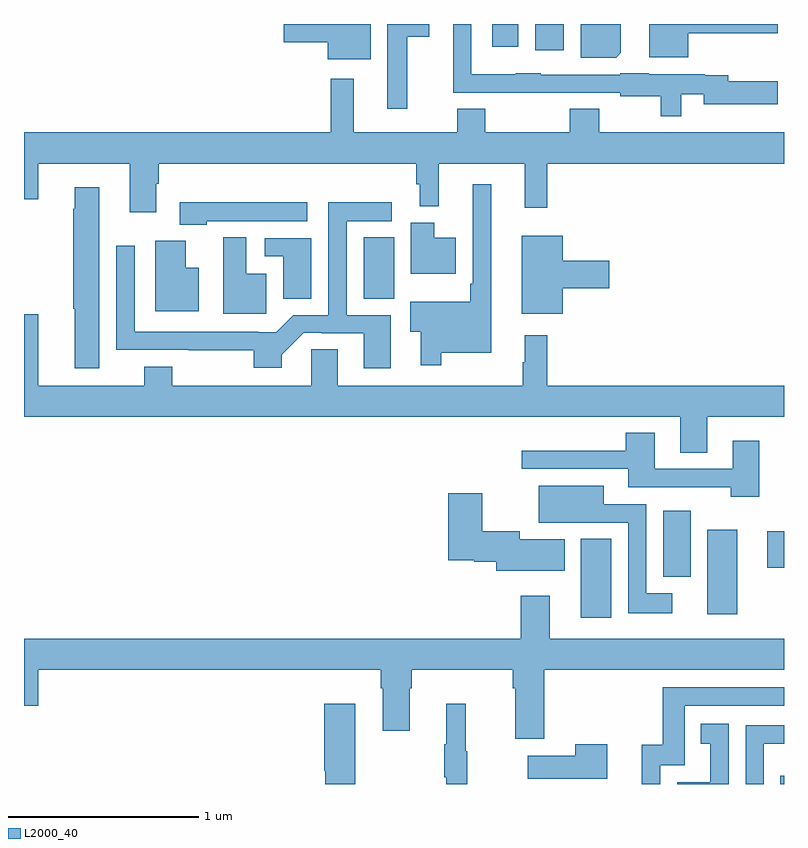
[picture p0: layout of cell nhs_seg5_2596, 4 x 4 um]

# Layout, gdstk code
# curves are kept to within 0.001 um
import gdstk
lib = gdstk.Library(unit=1e-6, precision=1e-09)
def R(c, l, rs):  # rectangles x0, y0, x1, y1
    for r in rs: c.add(gdstk.rectangle(r[:2], r[2:], *l))
def P(c, l, *ps):  # polygons
    for p in ps: c.add(gdstk.Polygon(p, *l))
L2000_40 = (2000, 40)

nhs_seg5_2596 = lib.new_cell('nhs_seg5_2596')
R(nhs_seg5_2596, L2000_40, [(264.979,882.799,265,882.843), (263.93,883.674,264.091,884.089), (264.596,883.692,264.754,884.137), (264.365,883.889,264.508,884.236), (264.911,883.937,265,884.128), (262.787,885.352,262.948,885.677), (263.69,886.662,263.842,886.799), (263.465,886.68,263.602,886.799)])
P(nhs_seg5_2596, L2000_40, [(263.017,886.733),(263.134,886.733),(263.134,886.799),(262.913,886.799),(262.913,886.353),(263.017,886.353)],
  [(264.142,886.648),(264.142,886.799),(263.93,886.799),(263.93,886.622),(264.116,886.622)],
  [(262.825,886.799),(262.368,886.799),(262.368,886.702),(262.598,886.702),(262.598,886.613),(262.825,886.613)],
  [(264.459,886.43),(264.578,886.43),(264.578,886.376),(264.967,886.376),(264.967,886.498),(264.706,886.498),(264.706,886.53),(264.582,886.53),(264.582,886.534),(264.288,886.534),(264.288,886.54),(264.138,886.54),(264.138,886.533),(263.721,886.533),(263.721,886.54),(263.589,886.54),(263.589,886.534),(263.355,886.534),(263.355,886.799),(263.259,886.799),(263.259,886.437),(263.489,886.437),(263.489,886.436),(263.721,886.436),(263.721,886.437),(264.138,886.437),(264.138,886.418),(264.351,886.418),(264.351,886.313),(264.459,886.313)],
  [(264.496,886.751),(264.967,886.751),(264.967,886.799),(264.29,886.799),(264.29,886.625),(264.496,886.625)],
  [(261.697,885.958),(261.71,885.958),(261.71,886.064),(263.065,886.064),(263.065,885.955),(263.084,885.955),(263.084,885.839),(263.183,885.839),(263.183,886.064),(263.636,886.064),(263.636,885.831),(263.753,885.831),(263.753,886.064),(265,886.064),(265,886.228),(264.027,886.228),(264.027,886.352),(263.872,886.352),(263.872,886.228),(263.427,886.228),(263.427,886.352),(263.279,886.352),(263.279,886.228),(262.735,886.228),(262.735,886.51),(262.614,886.51),(262.614,886.228),(261,886.228),(261,885.876),(261.076,885.876),(261.076,886.064),(261.557,886.064),(261.557,885.807),(261.697,885.807)],
  [(263.197,885.068),(263.458,885.068),(263.458,885.955),(263.361,885.955),(263.361,885.433),(263.349,885.433),(263.349,885.337),(263.034,885.337),(263.034,885.179),(263.087,885.179),(263.087,885.003),(263.197,885.003)],
  [(261.397,885.94),(261.266,885.94),(261.266,885.827),(261.259,885.827),(261.259,885.3),(261.266,885.3),(261.266,884.988),(261.397,884.988)],
  [(261.963,885.761),(262.492,885.761),(262.492,885.862),(261.819,885.862),(261.819,885.743),(261.963,885.743)],
  [(262.93,885.267),(262.698,885.267),(262.698,885.762),(262.936,885.762),(262.936,885.86),(262.602,885.86),(262.602,885.267),(262.418,885.267),(262.328,885.177),(262.232,885.177),(262.232,885.18),(261.582,885.18),(261.582,885.631),(261.486,885.631),(261.486,885.084),(262.21,885.083),(262.21,884.99),(262.357,884.99),(262.357,885.058),(262.473,885.174),(262.567,885.174),(262.567,885.171),(262.787,885.171),(262.787,884.988),(262.93,884.988)],
  [(263.272,885.673),(263.158,885.673),(263.158,885.754),(263.036,885.754),(263.036,885.485),(263.272,885.485)],
  [(263.836,885.407),(264.079,885.407),(264.079,885.554),(263.836,885.554),(263.836,885.685),(263.621,885.685),(263.621,885.275),(263.836,885.275)],
  [(262.276,885.484),(262.171,885.484),(262.171,885.676),(262.049,885.676),(262.049,885.275),(262.276,885.275)],
  [(262.513,885.672),(262.266,885.672),(262.266,885.576),(262.364,885.576),(262.364,885.352),(262.513,885.352)],
  [(261.919,885.517),(261.85,885.517),(261.85,885.658),(261.692,885.658),(261.692,885.287),(261.919,885.287)],
  [(264.595,884.732),(265,884.732),(265,884.896),(263.753,884.896),(263.753,885.16),(263.636,885.16),(263.636,885.02),(263.625,885.02),(263.625,884.896),(262.651,884.896),(262.651,885.086),(262.512,885.086),(262.512,884.896),(261.779,884.896),(261.779,884.995),(261.632,884.995),(261.632,884.896),(261.076,884.896),(261.076,885.271),(261,885.271),(261,884.732),(264.455,884.732),(264.455,884.542),(264.595,884.542)],
  [(264.871,884.605),(264.731,884.605),(264.731,884.457),(264.319,884.457),(264.319,884.647),(264.167,884.647),(264.167,884.554),(263.619,884.554),(263.619,884.457),(264.179,884.457),(264.179,884.361),(264.719,884.361),(264.719,884.31),(264.871,884.31)],
  [(264.412,883.804),(264.276,883.804),(264.276,884.271),(264.052,884.271),(264.052,884.368),(263.708,884.368),(263.708,884.174),(263.934,884.174),(263.934,884.175),(264.18,884.175),(264.18,883.697),(264.412,883.697)],
  [(263.845,884.086),(263.608,884.086),(263.608,884.129),(263.412,884.129),(263.412,884.329),(263.234,884.329),(263.234,883.976),(263.37,883.976),(263.37,883.969),(263.486,883.969),(263.486,883.922),(263.845,883.922)],
  [(263.738,883.4),(265,883.4),(265,883.564),(263.767,883.564),(263.767,883.789),(263.615,883.789),(263.615,883.564),(261,883.564),(261,883.212),(261.076,883.212),(261.076,883.4),(262.877,883.4),(262.877,883.304),(262.889,883.304),(262.889,883.08),(263.029,883.08),(263.029,883.304),(263.042,883.304),(263.042,883.4),(263.573,883.4),(263.573,883.304),(263.585,883.304),(263.585,883.038),(263.738,883.038)],
  [(264.348,882.897),(264.477,882.897),(264.477,883.212),(265,883.212),(265,883.308),(264.361,883.308),(264.361,883.006),(264.251,883.006),(264.251,882.799),(264.348,882.799)],
  [(262.744,883.222),(262.58,883.222),(262.58,882.87),(262.586,882.87),(262.586,882.799),(262.744,882.799)],
  [(263.332,882.972),(263.324,882.972),(263.324,883.222),(263.222,883.222),(263.222,883.009),(263.211,883.009),(263.211,882.835),(263.222,882.835),(263.222,882.799),(263.332,882.799)],
  [(264.708,883.117),(264.562,883.117),(264.562,883.011),(264.611,883.011),(264.611,882.807),(264.438,882.807),(264.438,882.799),(264.708,882.799)],
  [(264.894,883.01),(265,883.01),(265,883.107),(264.798,883.107),(264.798,882.799),(264.894,882.799)],
  [(264.07,883.009),(263.9,883.009),(263.9,882.949),(263.651,882.949),(263.651,882.827),(264.07,882.827)])

lib.write_gds('nhs_seg5_2596.gds')
